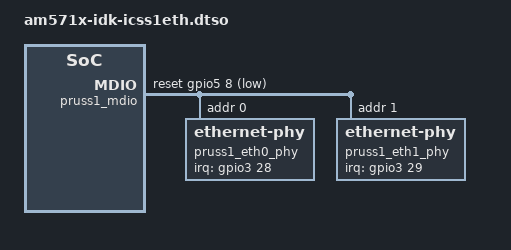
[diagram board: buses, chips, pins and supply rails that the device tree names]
// SPDX-License-Identifier: GPL-2.0
/*
 * Copyright (C) 2019 Texas Instruments Incorporated - http://www.ti.com/
 */

/dts-v1/;
/plugin/;
#include <dt-bindings/gpio/gpio.h>
#include <dt-bindings/interrupt-controller/irq.h>

/ {
  fragment@101 {
	target-path = "/";

	__overlay__ {

		aliases {
			ethernet4 = "/pruss1_eth/ethernet-mii0";
			ethernet5 = "/pruss1_eth/ethernet-mii1";
		};

		/* Dual mac ethernet application node on icss1 */
		pruss1_eth {
			status = "okay";
			compatible = "ti,am57-prueth";
			prus = <&pru1_0>, <&pru1_1>;
			firmware-name = "ti-pruss/am57xx-pru0-prueth-fw.elf",
					"ti-pruss/am57xx-pru1-prueth-fw.elf";
			ti,pruss-gp-mux-sel = <0>,	/* GP, default */
					      <4>;	/* MII2, needed for PRUSS1_MII1 */
			sram = <&ocmcram1>;
			interrupt-parent = <&pruss1_intc>;
			mii-rt = <&pruss1_mii_rt>;
			iep = <&pruss1_iep>;

			ethernet-mii0 {
				phy-handle = <&pruss1_eth0_phy>;
				phy-mode = "mii";
				interrupts = <20>, <22>;
				interrupt-names = "rx", "tx";
				/* Filled in by bootloader */
				local-mac-address = [00 00 00 00 00 00];
			};

			ethernet-mii1 {
				phy-handle = <&pruss1_eth1_phy>;
				phy-mode = "mii";
				interrupts = <21>, <23>;
				interrupt-names = "rx", "tx";
				/* Filled in by bootloader */
				local-mac-address = [00 00 00 00 00 00];
			};
		};
	};
  };
};

&pruss1_mdio {
	status = "okay";
	reset-gpios = <&gpio5 8 GPIO_ACTIVE_LOW>;
	reset-delay-us = <2>;   /* PHY datasheet states 1uS min */
	#address-cells = <1>;
	#size-cells = <0>;

	pruss1_eth0_phy: ethernet-phy@0 {
		reg = <0>;
		interrupt-parent = <&gpio3>;
		interrupts = <28 IRQ_TYPE_EDGE_FALLING>;
	};

	pruss1_eth1_phy: ethernet-phy@1 {
		reg = <1>;
		interrupt-parent = <&gpio3>;
		interrupts = <29 IRQ_TYPE_EDGE_FALLING>;
	};
};

&pruss2_eth {
	ti,pruss-gp-mux-sel = <4>,	/* MII2, needed for PRUSS1_MII0 */
			      <4>;	/* MII2, needed for PRUSS1_MII1 */
};
